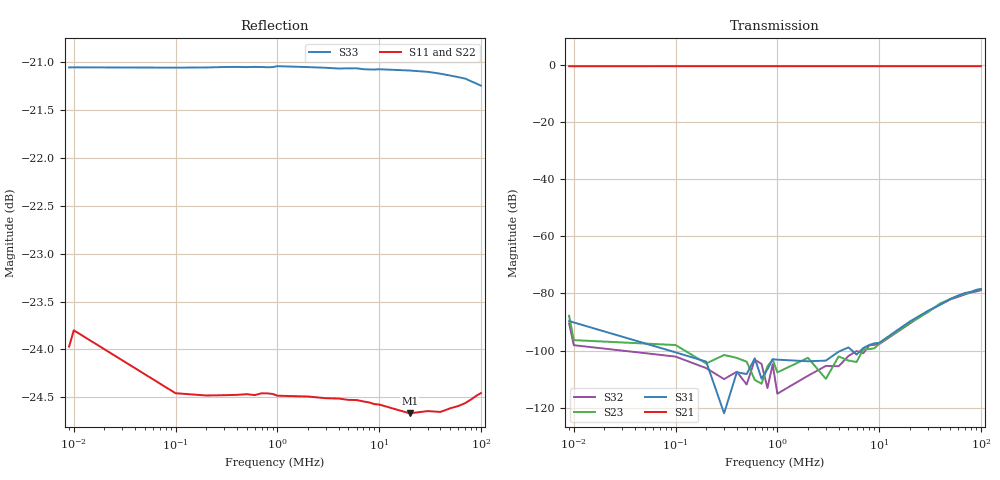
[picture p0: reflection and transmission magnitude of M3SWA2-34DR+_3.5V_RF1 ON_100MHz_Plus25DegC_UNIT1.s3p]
!Keysight Technologies,P5022A,MY58100238,A.14.30.03
!Date: Monday, August 28, 2023 15:30:39
!Correction: S11(C  3-Port  )
!S12(C  3-Port  )
!S13(C  3-Port  )
!S21(C  3-Port  )
!S22(C  3-Port  )
!S23(C  3-Port  )
!S31(C  3-Port  )
!S32(C  3-Port  )
!S33(C  3-Port  )
!S3P File: Measurement: :
!Deduct Board Loss
# Hz S  dB  R 50
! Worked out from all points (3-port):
!   30 points, 9 kHz to 100 MHz, reference 50 ohm
!   strongest paths, dB at 9 kHz, 600 kHz, 5 MHz, 30 MHz, 100 MHz:
!     S21: -0.6, -0.6, -0.6, -0.6, -0.6
!     S31: -89.6, -102.7, -98.9, -86.1, -78.5
!     S23: -87.8, -110.2, -103.5, -86.6, -78.5
!     S32: -90.5, -103.2, -101.9, -86.3, -78.9
!   lowest |S11| = -24.7 dB at 20 MHz (marker M1), VSWR 1.12, Z = 56.2 - j0.264 ohm
!   |S11| at or under -10 dB: start of sweep to end of sweep
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9000  -23.97 -7.8  -0.57 0.6  -92.37 -40.4
      -0.57 0.6  -23.56 -9.8  -87.82 147.2
      -89.62 -67.7  -90.48 122.4  -21.05 177.8
10000  -23.80 -5.3  -0.57 0.3  -106.07 -108.6
       -0.58 0.4  -23.65 -6.6  -96.32 96.5
       -90.15 -21.4  -98.09 120.8  -21.05 178.0
100000  -24.46 0.0  -0.56 -0.1  -100.61 -50.1
        -0.56 -0.1  -24.30 0.3  -98.04 -65.6
        -100.59 -53.5  -102.08 57.4  -21.05 179.8
1000000  -24.48 -0.2  -0.56 -0.1  -105.88 16.2
         -0.55 -0.1  -24.33 -0.2  -107.61 22.5
         -103.15 31.0  -115.05 17.6  -21.04 179.9
6000000  -24.53 -1.1  -0.56 -0.7  -100.44 50.5
         -0.55 -0.7  -24.41 -1.0  -103.98 77.4
         -101.36 58.3  -100.15 63.1  -21.06 179.2
2e7  -24.67 -2.3  -0.56 -2.2  -90.07 78.6
     -0.56 -2.2  -24.50 -1.7  -90.32 81.9
     -89.83 76.3  -90.56 81.4  -21.08 177.6
6e7  -24.59 -6.4  -0.56 -6.5  -80.66 57.5
     -0.56 -6.5  -24.35 -5.3  -80.75 57.9
     -80.79 58.9  -81.17 56.8  -21.15 173.4
7e7  -24.56 -7.6  -0.56 -7.5  -79.67 53.9
     -0.56 -7.5  -24.30 -6.3  -80.13 52.7
     -79.83 53.1  -80.32 52.8  -21.17 172.4
9e7  -24.48 -10.0  -0.56 -9.6  -78.52 47.1
     -0.56 -9.6  -24.23 -8.4  -78.72 46.4
     -78.85 46.4  -79.31 45.0  -21.22 170.4
1e8  -24.46 -11.2  -0.56 -10.7  -78.10 44.6
     -0.56 -10.7  -24.20 -9.5  -78.55 43.5
     -78.45 44.8  -78.88 42.8  -21.24 169.4
